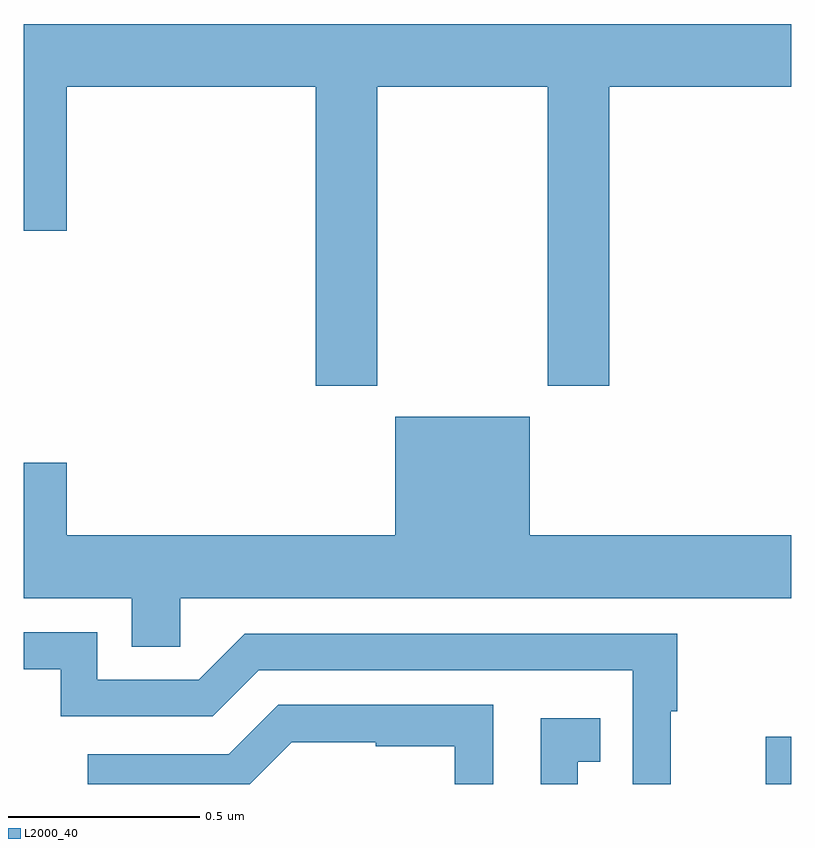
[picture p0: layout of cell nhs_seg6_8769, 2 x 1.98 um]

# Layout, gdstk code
import gdstk
lib = gdstk.Library(unit=1e-6, precision=1e-09)
def R(c, l, rs):  # rectangles x0, y0, x1, y1
    for r in rs: c.add(gdstk.rectangle(r[:2], r[2:], *l))
def P(c, l, *ps):  # polygons
    for p in ps: c.add(gdstk.Polygon(p, *l))
L2000_40 = (2000, 40)

nhs_seg6_8769 = lib.new_cell('nhs_seg6_8769')
R(nhs_seg6_8769, L2000_40, [(226.933,965.5,227,965.623)])
P(nhs_seg6_8769, L2000_40, [(225.921,967.316),(226.366,967.316),(226.366,966.537),(226.526,966.537),(226.526,967.316),(227,967.316),(227,967.48),(225,967.48),(225,966.942),(225.112,966.942),(225.112,967.316),(225.761,967.316),(225.761,966.537),(225.921,966.537)],
  [(225.408,965.984),(227,965.984),(227,966.148),(226.318,966.148),(226.318,966.457),(225.968,966.457),(225.968,966.148),(225.112,966.148),(225.112,966.337),(225,966.337),(225,965.984),(225.281,965.984),(225.281,965.857),(225.408,965.857)],
  [(226.686,965.689),(226.703,965.689),(226.703,965.892),(225.576,965.892),(225.456,965.772),(225.192,965.772),(225.192,965.895),(225,965.895),(225,965.799),(225.096,965.799),(225.096,965.676),(225.492,965.676),(225.612,965.796),(226.587,965.796),(226.587,965.5),(226.686,965.5)],
  [(225.698,965.609),(225.917,965.609),(225.917,965.598),(226.123,965.598),(226.123,965.5),(226.224,965.5),(226.224,965.706),(225.663,965.706),(225.534,965.577),(225.167,965.577),(225.167,965.5),(225.589,965.5)],
  [(226.444,965.558),(226.502,965.558),(226.502,965.671),(226.347,965.671),(226.347,965.5),(226.444,965.5)])

lib.write_gds('nhs_seg6_8769.gds')
